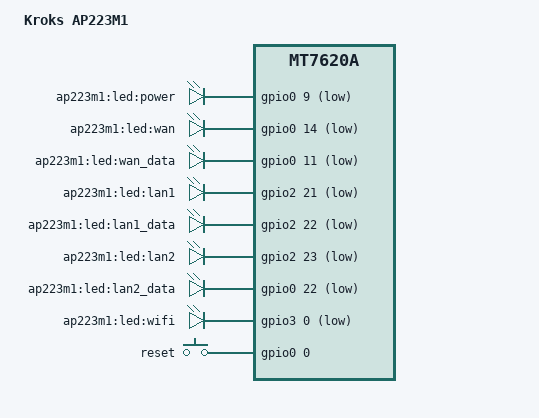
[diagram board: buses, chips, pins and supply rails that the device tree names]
#include "mt7620a_kroks.dtsi"
#include "flash_kroks_16m.dtsi"

#include <dt-bindings/input/input.h>
#include <dt-bindings/gpio/gpio.h>

/ {
	compatible = "kroks,ap223m1", "ralink,mt7620a-soc";
	model = "Kroks AP223M1";

	aliases {
		led-boot = &led_power;
		led-failsafe = &led_power;
		led-running = &led_power;
		led-upgrade = &led_power;
	};

	leds {
		compatible = "gpio-leds";

		led_power: power {
			label = "ap223m1:led:power";
			gpios = <&gpio0 9 GPIO_ACTIVE_LOW>;
		};

		wan {
			label = "ap223m1:led:wan";
			gpios = <&gpio0 14 GPIO_ACTIVE_LOW>;
		};

		wan_data {
			label = "ap223m1:led:wan_data";
			gpios = <&gpio0 11 GPIO_ACTIVE_LOW>;
		};

		lan1 {
			label = "ap223m1:led:lan1";
			gpios = <&gpio2 21 GPIO_ACTIVE_LOW>;
		};

		lan1_data {
			label = "ap223m1:led:lan1_data";
			gpios = <&gpio2 22 GPIO_ACTIVE_LOW>;
		};

		lan2 {
			label = "ap223m1:led:lan2";
			gpios = <&gpio2 23 GPIO_ACTIVE_LOW>;
		};

		lan2_data {
			label = "ap223m1:led:lan2_data";
			gpios = <&gpio0 22 GPIO_ACTIVE_LOW>;
		};

		wifi {
			label = "ap223m1:led:wifi";
			gpios = <&gpio3 0 GPIO_ACTIVE_LOW>;
			linux,default-trigger = "phy0tpt";
		};
	};

	keys {
		compatible = "gpio-keys";

		reset {
			label = "reset";
			gpios = <&gpio0 0 GPIO_ACTIVE_HIGH>;
			linux,code = <KEY_RESTART>;
		};
	};
};

&state_default {
	gpio {
		ralink,group = "uartf", "mdio", "rgmii2", "wled";
		ralink,function = "gpio";
	};
};

&ethernet {
	mediatek,portmap = "wllll";
};
